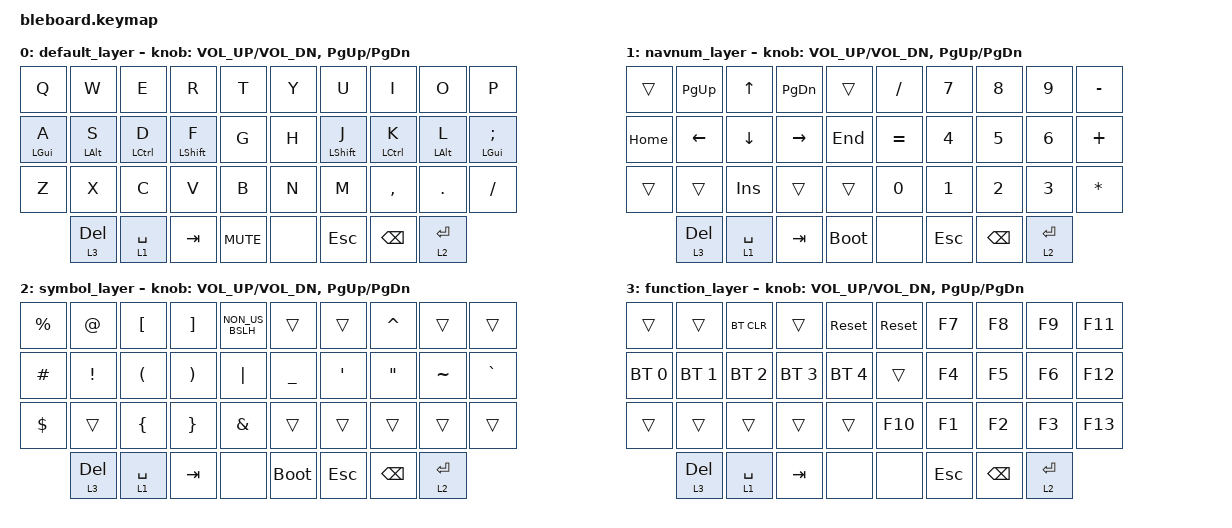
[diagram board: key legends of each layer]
/* / {
    keymap {
        compatible = "zmk,keymap";

        default_layer { // Layer 0
            // -------------------------------------
            // |     Z     |     M     |     K     |
            // |     A     |     B     |     C     |
            // |     D     |     E     |     F     |
            bindings = <
                &kp Z    &kp M    &kp K
                &kp A    &kp B    &kp C
                &kp D    &kp E    &kp F
            >;
        };
    };
 };

#include <behaviors.dtsi>
#include <dt-bindings/zmk/keys.h>
#include <dt-bindings/zmk/bt.h> */


/* The below is from https://github.com/friction07/corne-xiao/blob/main/rev2/firmware/5-col/zmk-config/boards/shields/corny/corny.keymap as an example. */

/ {
    keymap {
        compatible = "zmk,keymap";

        default_layer {
/* QWERTY
 *
 * ,----------------------------------.                      ,----------------------------------.
 * |   Q  |   W  |   E  |   R  |   T  |                      |   Y  |   U  |   I  |   O  |   P  |
 * |------+------+------+------+------|                      |------+------+------+------+------|
 * |   A  |   S  |   D  |   F  |   G  |                      |   H  |   J  |   K  |   L  |   ;  |
 * |------+------+------+------+------|  ,-----.    ,-----.  |------+------+------+------+------|
 * |   Z  |   X  |   C  |   V  |   B  |  |Mute |    |  -  |  |   N  |   M  |   ,  |   .  |   /  |
 * `----------------------------------'  `-----'    `-----'  `----------------------------------'
 *                    ,--------------------.            ,--------------------.
 *                    | DEL | SPACE | TAB  |            |  ESC  | BS | ENTER |
 *                    `--------------------'            `--------------------'
 */
            bindings = <
    &kp Q       &kp W       &kp E       &kp R       &kp T               &kp Y   &kp U       &kp I       &kp O       &kp P
    &mt LGUI A  &mt LALT S  &mt LCTRL D &mt LSHFT F &kp G               &kp H   &mt LSHFT J &mt LCTRL K &mt LALT L  &mt LGUI SEMI
    &kp Z       &kp X       &kp C       &kp V       &kp B               &kp N   &kp M       &kp COMMA   &kp DOT     &kp FSLH
                &lt 3 DEL   &lt 1 SPACE &kp TAB     &kp C_MUTE          &none  &kp ESC     &kp BSPC    &lt 2 RET
            >;

            sensor-bindings = <
                &inc_dec_kp C_VOL_UP C_VOL_DN
                &inc_dec_kp PAGE_UP PAGE_DOWN
            >;
        };

        navnum_layer {
/* NAVNUM
 *
 * ,----------------------------------.                      ,----------------------------------.
 * |      | PgUp |  UP  | PgDn |      |                      |   /  |   7  |   8  |   9  |   -  |
 * |------+------+------+------+------|                      |------+------+------+------+------|
 * | Home | Left | Down | Right| End  |                      |   =  |   4  |   5  |   6  |   +  |
 * |------+------+------+------+------|  ,-----.    ,-----.  |------+------+------+------+------|
 * |      |      |  INS |      |      |  |Boot |    |  -  |  |   0  |   1  |   2  |   3  |   *  |
 * `----------------------------------'  `-----'    `-----'  `----------------------------------'
 *                    ,--------------------.            ,--------------------.
 *                    | DEL | SPACE | TAB  |            |  ESC  | BS | ENTER |
 *                    `--------------------'            `--------------------'
 */
            bindings = <
    &trans      &kp PG_UP   &kp UP      &kp PG_DN   &trans                       &kp FSLH    &kp N7  &kp N8      &kp N9      &kp MINUS
    &kp HOME    &kp LEFT    &kp DOWN    &kp RIGHT   &kp END                      &kp EQUAL   &kp N4  &kp N5      &kp N6      &kp PLUS
    &trans      &trans      &kp INS     &trans      &trans                       &kp N0      &kp N1  &kp N2      &kp N3      &kp ASTERISK
                &lt 3 DEL   &lt 1 SPACE &kp TAB     &bootloader                  &none       &kp ESC &kp BSPC    &lt 2 RET
            >;

            sensor-bindings = <
                &inc_dec_kp C_VOL_UP C_VOL_DN
                &inc_dec_kp PAGE_UP PAGE_DOWN
            >;
        };

        symbol_layer {
/* SYM
 *
 * ,----------------------------------.                      ,----------------------------------.
 * |   %  |   @  |   [  |   ]  |   \  |                      |      |      |   ^  |      |      |
 * |------+------+------+------+------|                      |------+------+------+------+------|
 * |   #  |   !  |   (  |   )  |   |  |                      |   _  |   '  |   "  |   ~  |   `  |
 * |------+------+------+------+------|  ,-----.    ,-----.  |------+------+------+------+------|
 * |   $  |      |   {  |   }  |   &  |  |  -  |    |Boot |  |      |      |      |      |      |
 * `----------------------------------'  `-----'    `-----'  `----------------------------------'
 *                    ,--------------------.            ,--------------------.
 *                    | DEL | SPACE | TAB  |            |  ESC  | BS | ENTER |
 *                    `--------------------'            `--------------------'
 */
            bindings = <
    &kp PRCNT       &kp AT      &kp LBKT    &kp RBKT    &kp NON_US_BSLH         &trans          &trans          &kp CARET           &trans      &trans
    &kp HASH        &kp EXCL    &kp LPAR    &kp RPAR    &kp PIPE                &kp UNDER       &kp APOS        &kp DOUBLE_QUOTES   &kp TILDE   &kp GRAVE
    &kp DLLR        &trans      &kp LBRC    &kp RBRC    &kp AMPS                &trans          &trans          &trans              &trans      &trans
                    &lt 3 DEL   &lt 1 SPACE &kp TAB     &none                   &bootloader     &kp ESC         &kp BSPC            &lt 2 RET
            >;

            sensor-bindings = <
                &inc_dec_kp C_VOL_UP C_VOL_DN
                &inc_dec_kp PAGE_UP PAGE_DOWN
            >;
        };


        function_layer {
/* FUNC
 *
 * ,----------------------------------.                      ,----------------------------------.
 * |      |      | BTCLR|      | Reset|                      | Reset|  F7  |  F8  |  F9  |  F11 |
 * |------+------+------+------+------|                      |------+------+------+------+------|
 * |  BT0 |  BT1 |  BT2 |  BT3 |  BT4 |                      |      |  F4  |  F5  |  F6  |  F12 |
 * |------+------+------+------+------|  ,-----.    ,-----.  |------+------+------+------+------|
 * |      |      |      |      |      |  |  -  |    |  -  |  |  F10 |  F1  |  F2  |  F3  |  F13 |
 * `----------------------------------'  `-----'    `-----'  `----------------------------------'
 *                    ,--------------------.            ,--------------------.
 *                    | DEL | SPACE | TAB  |            |  ESC  | BS | ENTER |
 *                    `--------------------'            `--------------------'
 */
            bindings = <
    &trans          &trans          &bt BT_CLR      &trans          &sys_reset          &sys_reset  &kp F7  &kp F8      &kp F9      &kp F11
    &bt BT_SEL 0    &bt BT_SEL 1    &bt BT_SEL 2    &bt BT_SEL 3    &bt BT_SEL 4        &trans      &kp F4  &kp F5      &kp F6      &kp F12
    &trans          &trans          &trans          &trans          &trans              &kp F10     &kp F1  &kp F2      &kp F3      &kp F13
                    &lt 3 DEL       &lt 1 SPACE     &kp TAB         &none               &none       &kp ESC &kp BSPC    &lt 2 RET
            >;

            sensor-bindings = <
                &inc_dec_kp C_VOL_UP C_VOL_DN
                &inc_dec_kp PAGE_UP PAGE_DOWN
            >;
        };

    };
};
